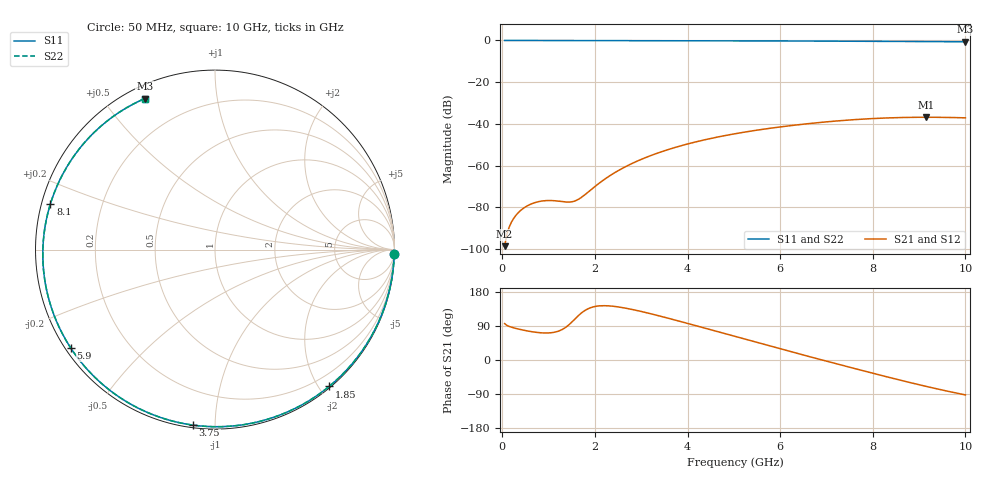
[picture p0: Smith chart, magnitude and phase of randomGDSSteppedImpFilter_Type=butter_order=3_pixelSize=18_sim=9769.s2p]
! freq	dB(S11)	phase(S11)	dB(S12)	phase(S12)
!  dB(S21)	phase(S21)	dB(S22)	phase(S22)
!S-par simulation data
#  GHz  S  DB  R 50
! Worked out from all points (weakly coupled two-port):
!   200 points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, 50 MHz to 10 GHz, reference 50 ohm
!   highest |S21| = -36.82 dB at 9.15 GHz (marker M1); lowest = -98.6 dB at 50 MHz (marker M2)
!   lowest |S11| = -0.6 dB at 10 GHz (marker M3), VSWR 26.81, Z = 2.62 + j31.8 ohm
!   |S11| at or under -10 dB: nowhere
!   |S22| runs from -0.6 to 0.0 dB; largest |S21 - S12| = 0
!   S11 on the Smith chart (normalised r, x): 50 MHz: 4, -85; 1.85 GHz: 0.02, -2.14; 3.75 GHz: 0.01, -0.88; 5.9 GHz: 0.02, -0.31; 8.1 GHz: 0.03, +0.14; 10 GHz: 0.05, +0.64
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0.05  -0.01 -1.3  -98.61 96.1  -98.61 96.1  -0.01 -1.3
0.45  -0.02 -12.5  -80.54 78.9  -80.54 78.9  -0.02 -12.5
0.7  -0.03 -19.3  -77.77 73.5  -77.77 73.5  -0.03 -19.3
0.9  -0.03 -24.8  -76.85 71.3  -76.85 71.3  -0.03 -24.8
1.5  -0.05 -41.0  -77.35 99.8  -77.35 99.8  -0.05 -41.0
1.6  -0.05 -43.6  -76.65 112.0  -76.65 112.0  -0.05 -43.6
1.75  -0.06 -47.6  -74.55 127.9  -74.55 127.9  -0.06 -47.6
1.85  -0.06 -50.2  -72.76 135.1  -72.76 135.1  -0.06 -50.2
2.2  -0.07 -59.2  -66.67 143.3  -66.67 143.3  -0.07 -59.2
2.55  -0.09 -68.1  -61.82 139.2  -61.82 139.2  -0.09 -68.1
2.95  -0.10 -78.0  -57.48 129.5  -57.48 129.5  -0.10 -78.0
3.4  -0.11 -88.9  -53.63 116.1  -53.63 116.1  -0.11 -88.9
3.75  -0.13 -97.2  -51.17 104.8  -51.17 104.8  -0.13 -97.2
4.4  -0.15 -112.2  -47.48 83.2  -47.48 83.2  -0.15 -112.2
5.05  -0.19 -126.8  -44.62 61.3  -44.62 61.3  -0.19 -126.8
5.9  -0.24 -145.6  -41.74 32.9  -41.74 32.9  -0.24 -145.6
6.7  -0.30 -163.3  -39.67 6.7  -39.67 6.7  -0.30 -163.3
7.4  -0.36 -179.1  -38.28 -15.9  -38.28 -15.9  -0.36 -179.0
8.1  -0.43 164.5  -37.34 -38.0  -37.34 -38.0  -0.43 164.6
8.35  -0.46 158.5  -37.12 -45.8  -37.12 -45.8  -0.46 158.5
9.15  -0.55 138.2  -36.82 -69.6  -36.82 -69.6  -0.55 138.2
10  -0.65 114.9  -37.10 -92.1  -37.10 -92.1  -0.65 115.0
